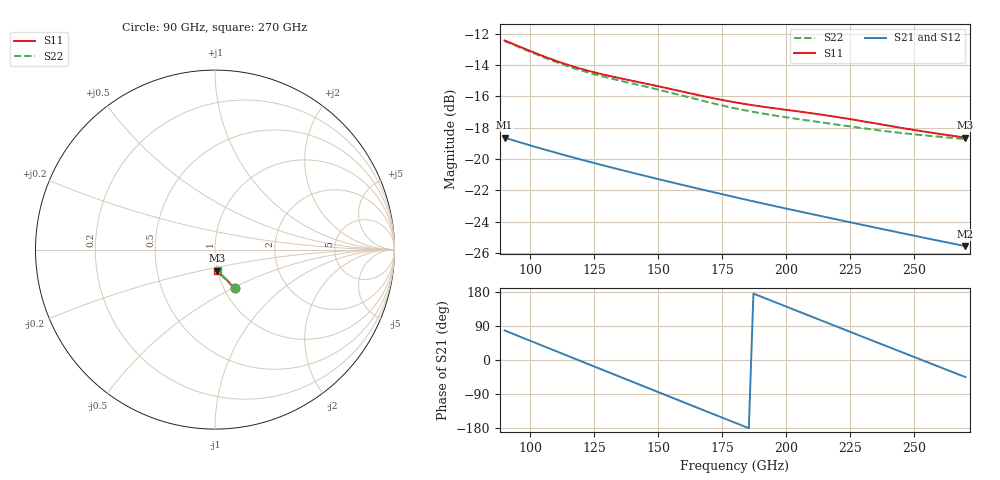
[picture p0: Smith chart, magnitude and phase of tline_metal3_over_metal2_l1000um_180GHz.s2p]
#  GHZ S DB R 50
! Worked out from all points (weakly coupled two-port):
!   101 points, 90 GHz to 270 GHz, reference 50 ohm
!   highest |S21| = -18.64 dB at 90 GHz (marker M1); lowest = -25.6 dB at 270 GHz (marker M2)
!   lowest |S11| = -18.6 dB at 270 GHz (marker M3), VSWR 1.26, Z = 49.6 - j11.7 ohm
!   |S11| at or under -10 dB: start of sweep to end of sweep
!   |S22| runs from -18.7 to -12.5 dB; largest |S21 - S12| = 1.2e-13
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90  -12.44 -62.7  -18.64 77.9  -18.64 77.9  -12.47 -62.7
99  -13.04 -64.7  -19.09 53.5  -19.09 53.5  -13.10 -64.7
106.2  -13.51 -65.9  -19.43 33.9  -19.43 33.9  -13.57 -65.8
113.4  -13.92 -66.7  -19.76 14.4  -19.76 14.4  -14.01 -66.7
120.6  -14.28 -67.4  -20.07 -5.2  -20.07 -5.2  -14.39 -67.4
127.8  -14.58 -68.1  -20.38 -24.7  -20.38 -24.7  -14.71 -68.1
136.8  -14.91 -69.2  -20.76 -49.0  -20.76 -49.0  -15.07 -69.1
144  -15.16 -70.2  -21.05 -68.5  -21.05 -68.5  -15.34 -70.1
151.2  -15.41 -71.3  -21.34 -87.9  -21.34 -87.9  -15.63 -71.2
158.4  -15.66 -72.3  -21.62 -107.4  -21.62 -107.4  -15.92 -72.2
167.4  -15.99 -73.5  -21.97 -131.6  -21.97 -131.6  -16.29 -73.2
180  -16.39 -74.7  -22.44 -165.5  -22.44 -165.5  -16.77 -74.1
187.2  -16.58 -75.4  -22.71 175.2  -22.71 175.2  -17.00 -74.5
194.4  -16.74 -76.2  -22.97 156.0  -22.97 156.0  -17.20 -74.9
203.4  -16.94 -77.4  -23.29 131.9  -23.29 131.9  -17.43 -75.6
210.6  -17.10 -78.4  -23.55 112.7  -23.55 112.7  -17.60 -76.1
217.8  -17.27 -79.5  -23.80 93.5  -23.80 93.5  -17.76 -76.7
225  -17.46 -80.6  -24.05 74.3  -24.05 74.3  -17.93 -77.3
241.2  -17.91 -82.7  -24.60 31.2  -24.60 31.2  -18.27 -78.5
248.4  -18.11 -83.4  -24.85 12.1  -24.85 12.1  -18.40 -79.0
255.6  -18.30 -84.1  -25.09 -7.0  -25.09 -7.0  -18.52 -79.6
270  -18.64 -85.3  -25.57 -45.0  -25.57 -45.0  -18.73 -80.9
